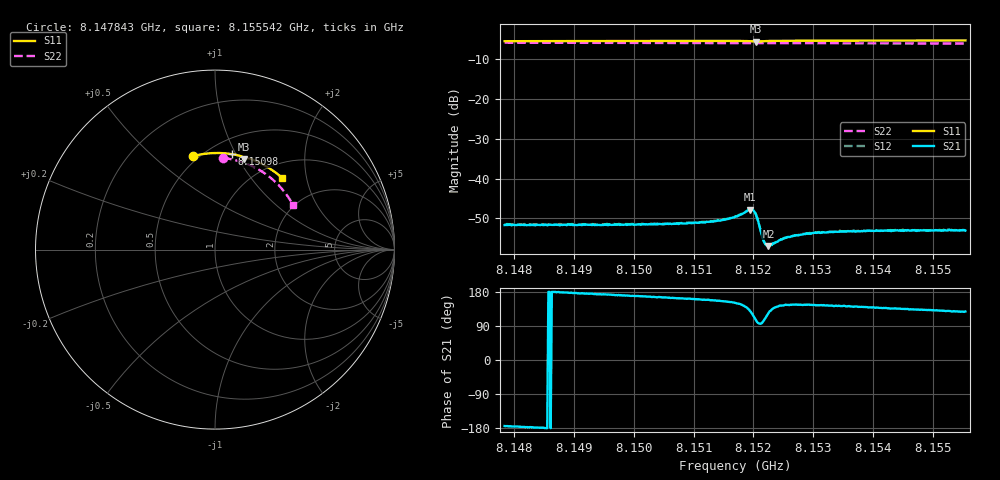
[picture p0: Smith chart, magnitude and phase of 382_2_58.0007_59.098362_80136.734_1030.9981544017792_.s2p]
#  HZ  S  RI  R  50.00
! Rohde & Schwarz Vector Network Analyzer
! Rohde-Schwarz,ZNB20-2Port,1311601062101988,3.16
! Created: UTC 3/21/2024, 1:07:22 AM
! freq[Hz]  re:S11  im:S11  re:S21  im:S21  re:S12  im:S12  re:S22  im:S22
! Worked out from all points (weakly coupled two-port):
!   401 points, 8.147843 GHz to 8.155542 GHz, reference 50 ohm
!   highest |S21| = -47.78 dB at 8.151943 GHz (marker M1); lowest = -56.9 dB at 8.152251 GHz (marker M2)
!   lowest |S11| = -5.5 dB at 8.152039 GHz (marker M3), VSWR 3.25, Z = 37.6 + j52.7 ohm
!   |S11| at or under -10 dB: nowhere
!   |S22| runs from -6.0 to -5.8 dB; largest |S21 - S12| = 0.00012
!   S11 on the Smith chart (normalised r, x): 8.147843 GHz: 0.47, +0.68; 8.15098 GHz: 0.64, +0.97; 8.155542 GHz: 1.27, +1.45
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8.1478432e9  -0.1222 0.5209  -0.0026 -0.000261  -0.00262 -0.000203  0.0441 0.5104
8.1491327e9  -0.0335 0.5363  -0.0026 0.000169  -0.00267 0.000264  0.1263 0.495
8.1504222e9  0.0561 0.5366  -0.00262 0.000635  -0.00261 0.000706  0.2042 0.4662
8.1509803e9  0.095 0.5319  -0.00262 0.000898  -0.00264 0.000981  0.2362 0.4499
8.1513267e9  0.1192 0.5273  -0.00266 0.00111  -0.00269 0.00115  0.2553 0.4388
8.1515577e9  0.1356 0.5234  -0.0028 0.00135  -0.00279 0.00141  0.2677 0.4309
8.1516924e9  0.1454 0.5204  -0.0029 0.00162  -0.0029 0.00165  0.2749 0.4261
8.1519426e9  0.1624 0.509  -0.00261 0.00315  -0.00263 0.00322  0.2877 0.4168
8.1520004e9  0.1629 0.5049  -0.00175 0.00357  -0.00174 0.00362  0.2905 0.4145
8.1520388e9  0.1615 0.5042  -0.001 0.00346  -0.000934 0.00348  0.2924 0.4131
8.1520773e9  0.1607 0.5053  -0.000397 0.00294  -0.000351 0.00294  0.2943 0.4118
8.1521351e9  0.1631 0.5084  -0.000231 0.00199  -0.000219 0.00202  0.2972 0.4098
8.1521736e9  0.166 0.5098  -0.000404 0.00158  -0.000394 0.00158  0.2991 0.4083
8.1522121e9  0.1693 0.5104  -0.00059 0.00133  -0.000604 0.00134  0.3012 0.4067
8.1522506e9  0.1724 0.5105  -0.00079 0.00119  -0.000789 0.00123  0.3031 0.4054
8.152289e9  0.1757 0.5102  -0.000961 0.00114  -0.000969 0.00114  0.3049 0.404
8.1524623e9  0.189 0.5075  -0.00138 0.00102  -0.00138 0.00106  0.3137 0.3969
8.1525585e9  0.196 0.5054  -0.00149 0.00104  -0.0015 0.00105  0.3183 0.393
8.1529819e9  0.2243 0.4947  -0.0017 0.00118  -0.00168 0.0012  0.3382 0.3751
8.1535978e9  0.2631 0.4764  -0.00172 0.00133  -0.00169 0.0014  0.3653 0.3474
8.1542714e9  0.3035 0.453  -0.00162 0.00155  -0.0016 0.00156  0.3923 0.3147
8.1555416e9  0.373 0.4  -0.00137 0.00176  -0.00133 0.00181  0.435 0.2481
